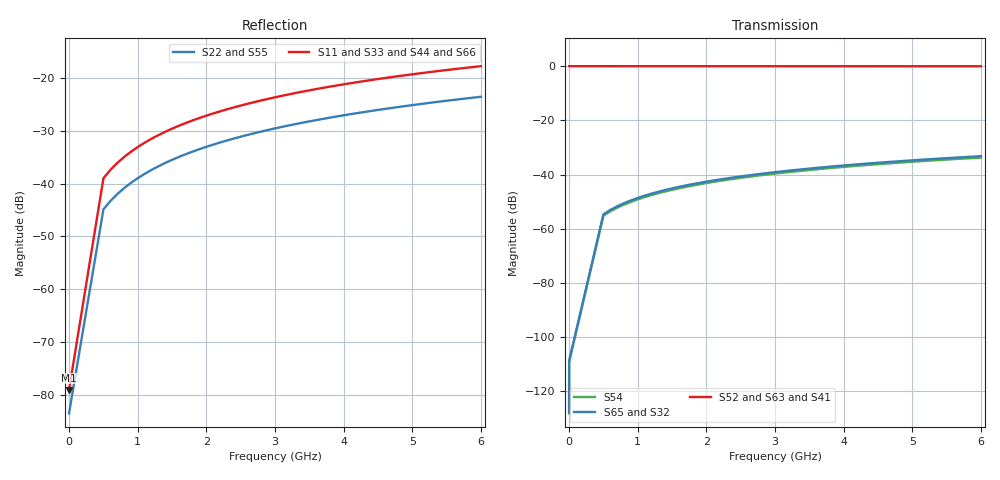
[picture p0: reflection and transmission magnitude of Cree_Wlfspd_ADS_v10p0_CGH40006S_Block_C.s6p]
! AWR Design Environment (7688) Fri Jul 15 12:03:54 2016
! Document = 'Bond wire array'
! nPorts: 6, nXvals: 59
# HZ S DB R 50
!Freq DBS11 AngS11 DBS12 AngS12 DBS13 AngS13 DBS14 AngS14
!	DBS15 AngS15 DBS16 AngS16
!	DBS21 AngS21 DBS22 AngS22 DBS23 AngS23 DBS24 AngS24
!	DBS25 AngS25 DBS26 AngS26
!	DBS31 AngS31 DBS32 AngS32 DBS33 AngS33 DBS34 AngS34
!	DBS35 AngS35 DBS36 AngS36
!	DBS41 AngS41 DBS42 AngS42 DBS43 AngS43 DBS44 AngS44
!	DBS45 AngS45 DBS46 AngS46
!	DBS51 AngS51 DBS52 AngS52 DBS53 AngS53 DBS54 AngS54
!	DBS55 AngS55 DBS56 AngS56
!	DBS61 AngS61 DBS62 AngS62 DBS63 AngS63 DBS64 AngS64
!	DBS65 AngS65 DBS66 AngS66
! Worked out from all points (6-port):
!   58 points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, 100 kHz to 6 GHz, reference 50 ohm
!   strongest paths, dB at 100 kHz, 1.7 GHz, 3.2 GHz, 4.6 GHz, 6 GHz:
!     S52: 0.0, 0.0, 0.0, 0.0, 0.0
!     S63: 0.0, 0.0, 0.0, -0.1, -0.1
!     S41: 0.0, 0.0, 0.0, -0.1, -0.1
!     S65: -127.7, -44.0, -38.6, -35.5, -33.2
!     S32: -127.7, -44.0, -38.6, -35.5, -33.2
!     S54: -128.1, -44.5, -39.1, -36.0, -33.7
!   lowest |S11| = -79.1 dB at 100 kHz (marker M1), VSWR 1.00, Z = 50 + j0.000246 ohm
!   |S11| at or under -10 dB: start of sweep to end of sweep
